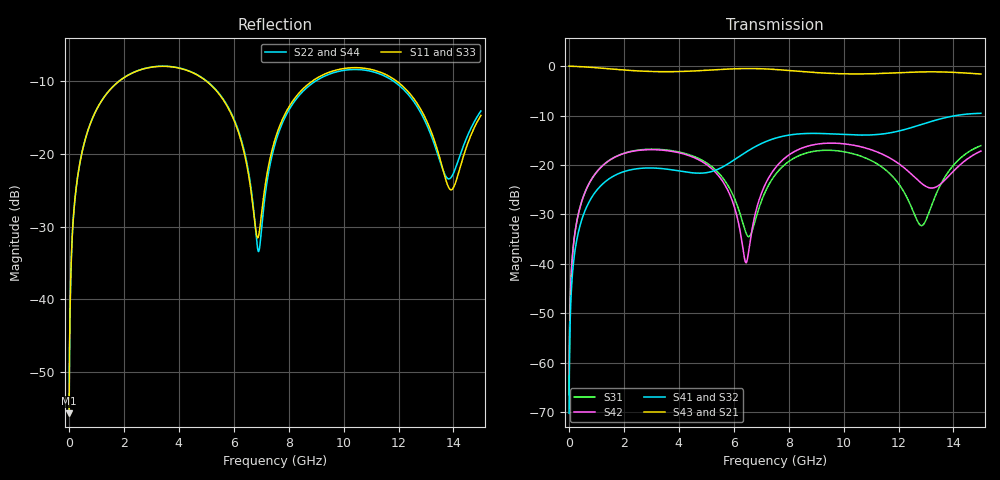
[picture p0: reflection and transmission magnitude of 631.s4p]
! Created with skrf 1.8.0 (http://scikit-rf.org).
# GHz S RI R 50.0
!freq ReS11 ImS11 ReS12 ImS12 ReS13 ImS13
! ReS14 ImS14
! ReS21 ImS21 ReS22 ImS22 ReS23 ImS23
! ReS24 ImS24
! ReS31 ImS31 ReS32 ImS32 ReS33 ImS33
! ReS34 ImS34
! ReS41 ImS41 ReS42 ImS42 ReS43 ImS43
! ReS44 ImS44
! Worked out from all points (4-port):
!   2499 points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, 5 MHz to 15 GHz, reference 50 ohm
!   strongest paths, dB at 5 MHz, 3.476 GHz, 7.19 GHz, 11.1 GHz, 15 GHz:
!     S43: 0.0, -1.1, -0.6, -1.5, -1.6
!     S21: 0.0, -1.1, -0.6, -1.5, -1.6
!     S41: -70.2, -20.8, -15.2, -13.9, -9.5
!     S32: -70.2, -20.8, -15.2, -13.9, -9.5
!     S42: -66.5, -17.0, -23.4, -17.1, -17.2
!     S31: -66.5, -16.9, -24.9, -19.4, -16.1
!   lowest |S11| = -55.7 dB at 5 MHz (marker M1), VSWR 1.00, Z = 50.1 + j0.1 ohm
!   |S11| at or under -10 dB: start of sweep to 1.835 GHz; 4.996 GHz to 8.868 GHz (3.873 GHz wide, 55.9 % of centre); 11.92 GHz to end of sweep
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0.005  0.00131 0.001  0.9987 -0.00255  6.31e-05 0.000471  -6.16e-05 -0.000302
       0.9987 -0.00255  0.00131 0.001  -6.16e-05 -0.000302  6.31e-05 0.000471
       6.31e-05 0.000471  -6.16e-05 -0.000302  0.00131 0.001  0.9987 -0.00255
       -6.16e-05 -0.000302  6.31e-05 0.000471  0.9987 -0.00255  0.00131 0.001
0.4126719  0.0249 0.086  0.9656 -0.2079  0.011 0.0367  -0.00917 -0.0232
           0.9656 -0.2079  0.025 0.086  -0.00917 -0.0232  0.0108 0.0367
           0.011 0.0367  -0.00917 -0.0232  0.0249 0.086  0.9656 -0.2079
           -0.00917 -0.0232  0.0108 0.0367  0.9656 -0.2079  0.025 0.086
2.025844  0.2839 0.1784  0.5226 -0.7477  0.1223 0.0501  -0.0861 -0.00229
          0.5226 -0.7477  0.2846 0.1778  -0.0861 -0.00229  0.1203 0.0531
          0.1223 0.0501  -0.0861 -0.00229  0.2839 0.1783  0.5226 -0.7477
          -0.0861 -0.00229  0.1203 0.0531  0.5226 -0.7477  0.2846 0.1779
6.865361  0.0264 -0.00174  -0.941 -0.0627  -0.0121 0.0306  -0.006 0.1575
          -0.941 -0.0627  0.0212 -0.00759  -0.00605 0.1574  0.0207 0.0334
          -0.0121 0.0306  -0.00605 0.1574  0.0266 -0.000197  -0.941 -0.0624
          -0.006 0.1575  0.0207 0.0334  -0.941 -0.0624  0.0208 -0.00605
10.9233  0.3751 -0.0735  0.1075 0.8302  0.0883 -0.0718  0.1879 -0.0718
         0.1075 0.8302  0.3662 -0.0607  0.1878 -0.0714  0.0851 -0.1175
         0.0883 -0.0718  0.1878 -0.0714  0.3771 -0.0748  0.1063 0.8294
         0.1879 -0.0718  0.0851 -0.1175  0.1063 0.8294  0.3686 -0.0589
12.84285  0.1288 -0.1488  0.7257 0.4877  -0.0241 -0.00378  0.1396 -0.2162
          0.7257 0.4877  0.1317 -0.1317  0.1402 -0.2157  -0.0566 -0.0322
          -0.0241 -0.00378  0.1402 -0.2157  0.1289 -0.1526  0.7237 0.4895
          0.1396 -0.2162  -0.0566 -0.0322  0.7237 0.4895  0.1361 -0.1327
15  0.1363 0.1226  0.7583 -0.3403  0.1311 0.0862  -0.1679 -0.2878
    0.7583 -0.3403  0.1517 0.1251  -0.1676 -0.2885  0.1077 0.0868
    0.1311 0.0862  -0.1676 -0.2885  0.1309 0.1212  0.7604 -0.3374
    -0.1679 -0.2878  0.1077 0.0868  0.7604 -0.3374  0.1528 0.1204
